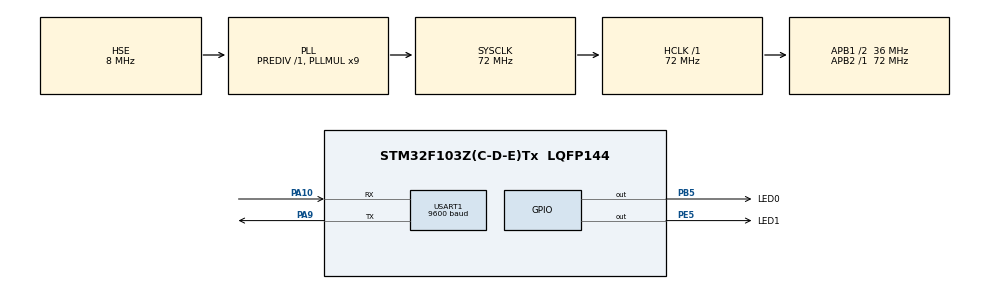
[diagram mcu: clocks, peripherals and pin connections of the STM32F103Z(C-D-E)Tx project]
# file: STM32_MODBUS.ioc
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Mcu.Family=STM32F1
Mcu.Name=STM32F103Z(C-D-E)Tx
Mcu.Package=LQFP144
NVIC.PriorityGroup=NVIC_PRIORITYGROUP_4
NVIC.TIM4_IRQn=true\:0\:0\:false\:false\:false\:false\:true\:true\:true
NVIC.USART1_IRQn=true\:0\:0\:false\:false\:false\:false\:true\:true\:true
OSC_IN.Mode=HSE-External-Oscillator
OSC_IN.Signal=RCC_OSC_IN
OSC_OUT.Mode=HSE-External-Oscillator
OSC_OUT.Signal=RCC_OSC_OUT
PA10.Mode=Asynchronous
PA10.Signal=USART1_RX
PA13.Mode=Serial_Wire
PA13.Signal=SYS_JTMS-SWDIO
PA14.Mode=Serial_Wire
PA14.Signal=SYS_JTCK-SWCLK
PA9.Mode=Asynchronous
PA9.Signal=USART1_TX
PB5.GPIO_Label=LED0
PB5.PinState=GPIO_PIN_SET
PB5.Signal=GPIO_Output
PC14-OSC32_IN.Mode=LSE-External-Oscillator
PC14-OSC32_IN.Signal=RCC_OSC32_IN
PC15-OSC32_OUT.Mode=LSE-External-Oscillator
PC15-OSC32_OUT.Signal=RCC_OSC32_OUT
PE5.GPIO_Label=LED1
PE5.PinState=GPIO_PIN_SET
PE5.Signal=GPIO_Output
ProjectManager.HeapSize=0x200
ProjectManager.StackSize=0x400
ProjectManager.TargetToolchain=SW4STM32
RCC.AHBFreq_Value=72000000
RCC.APB1CLKDivider=RCC_HCLK_DIV2
RCC.APB1Freq_Value=36000000
RCC.APB1TimFreq_Value=72000000
RCC.APB2Freq_Value=72000000
RCC.APB2TimFreq_Value=72000000
RCC.HCLKFreq_Value=72000000
RCC.PLLMUL=RCC_PLL_MUL9
RCC.PLLSourceVirtual=RCC_PLLSOURCE_HSE
RCC.RTCClockSelection=RCC_RTCCLKSOURCE_LSE
RCC.SYSCLKFreq_VALUE=72000000
RCC.SYSCLKSource=RCC_SYSCLKSOURCE_PLLCLK
RCC.USBFreq_Value=72000000
RTC.Date=29
RTC.Format=RTC_FORMAT_BIN
RTC.Hours=8
RTC.Month=RTC_MONTH_JULY
RTC.WeekDay=RTC_WEEKDAY_SATURDAY
RTC.Year=23
RealThread.RT-Thread.3.1.5.RTOSJjkernel=true
RealThread.RT-Thread.3.1.5.RT_ALIGN_SIZE=8
RealThread.RT-Thread.3.1.5.RT_NAME_MAX=16
RealThread.RT-Thread.3.1.5.RT_TICK_PER_SECOND=10000
RealThread.RT-Thread.3.1.5.RT_USING_CONSOLE=0
RealThread.RT-Thread.3.1.5.RT_USING_DEVICE=0
RealThread.RT-Thread.3.1.5.RT_USING_EVENT=1
RealThread.RT-Thread.3.1.5.RT_USING_HOOK=0
RealThread.RT-Thread.3.1.5.RT_USING_MUTEX=1
RealThread.RT-Thread.3.1.5.RT_USING_USER_MAIN=0
TIM4.Period=35
TIM4.Prescaler=3599
USART1.BaudRate=9600
USART1.VirtualMode=VM_ASYNC
VP_RTC_VS_RTC_Activate.Mode=RTC_Enabled
VP_RTC_VS_RTC_Calendar.Mode=RTC_Calendar
VP_RealThread.RT-Thread_VS_RTOSJjkernel_3.1.5_3.1.5.Mode=RTOSJjkernel
VP_TIM4_VS_ClockSourceINT.Mode=Internal
board=custom

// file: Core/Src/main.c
/* USER CODE BEGIN Header */
/**
  ******************************************************************************
  * @file           : main.c
  * @brief          : Main program body
  ******************************************************************************
  * @attention
  *
  * Copyright (c) 2023 STMicroelectronics.
  * All rights reserved.
  *
  * This software is licensed under terms that can be found in the LICENSE file
  * in the root directory of this software component.
  * If no LICENSE file comes with this software, it is provided AS-IS.
  *
  ******************************************************************************
  */
/* USER CODE END Header */
#include "main.h"
#include "rtc.h"
#include "tim.h"
#include "usart.h"
#include "gpio.h"

/* USER CODE BEGIN Includes */
#include <stdio.h>
#include "APP/app_rtthread.h"
/* USER CODE END Includes */

void SystemClock_Config(void);

/* USER CODE BEGIN 0 */
#define PUTCHAR_PROTOTYPE int __io_putchar(int ch)
#define GETCHAR_PROTOTYPE int __io_getchar(void)

#ifdef __cplusplus
extern "C" {
#endif
PUTCHAR_PROTOTYPE {
HAL_UART_Transmit(&huart1, (uint8_t *) &ch, 1, HAL_MAX_DELAY);
return ch;
}
GETCHAR_PROTOTYPE {
uint8_t ch = 0;
HAL_UART_Receive(&huart1, &ch, 1, HAL_MAX_DELAY);
return ch;
}
#ifdef __cplusplus
}
#endif
/* USER CODE END 0 */

int main(void)
{

  /* MCU Configuration--------------------------------------------------------*/

  /* Reset of all peripherals, Initializes the Flash interface and the Systick. */
  HAL_Init();

  /* Configure the system clock */
  SystemClock_Config();

  /* Initialize all configured peripherals */
  MX_GPIO_Init();
  MX_RTC_Init();
  MX_TIM4_Init();
  MX_USART1_UART_Init();
  /* USER CODE BEGIN 2 */

  rtthread_startup();

  /* USER CODE END 2 */

  /* Infinite loop */
  while (1)
  {

  }
}

void SystemClock_Config(void)
{
  RCC_OscInitTypeDef RCC_OscInitStruct = {0};
  RCC_ClkInitTypeDef RCC_ClkInitStruct = {0};
  RCC_PeriphCLKInitTypeDef PeriphClkInit = {0};

  /** Initializes the RCC Oscillators according to the specified parameters
  * in the RCC_OscInitTypeDef structure.
  */
  RCC_OscInitStruct.OscillatorType = RCC_OSCILLATORTYPE_HSE|RCC_OSCILLATORTYPE_LSE;
  RCC_OscInitStruct.HSEState = RCC_HSE_ON;
  RCC_OscInitStruct.HSEPredivValue = RCC_HSE_PREDIV_DIV1;
  RCC_OscInitStruct.LSEState = RCC_LSE_ON;
  RCC_OscInitStruct.HSIState = RCC_HSI_ON;
  RCC_OscInitStruct.PLL.PLLState = RCC_PLL_ON;
  RCC_OscInitStruct.PLL.PLLSource = RCC_PLLSOURCE_HSE;
  RCC_OscInitStruct.PLL.PLLMUL = RCC_PLL_MUL9;
  if (HAL_RCC_OscConfig(&RCC_OscInitStruct) != HAL_OK)
  {
    Error_Handler();
  }

  /** Initializes the CPU, AHB and APB buses clocks
  */
  RCC_ClkInitStruct.ClockType = RCC_CLOCKTYPE_HCLK|RCC_CLOCKTYPE_SYSCLK
                              |RCC_CLOCKTYPE_PCLK1|RCC_CLOCKTYPE_PCLK2;
  RCC_ClkInitStruct.SYSCLKSource = RCC_SYSCLKSOURCE_PLLCLK;
  RCC_ClkInitStruct.AHBCLKDivider = RCC_SYSCLK_DIV1;
  RCC_ClkInitStruct.APB1CLKDivider = RCC_HCLK_DIV2;
  RCC_ClkInitStruct.APB2CLKDivider = RCC_HCLK_DIV1;

  if (HAL_RCC_ClockConfig(&RCC_ClkInitStruct, FLASH_LATENCY_2) != HAL_OK)
  {
    Error_Handler();
  }
  PeriphClkInit.PeriphClockSelection = RCC_PERIPHCLK_RTC;
  PeriphClkInit.RTCClockSelection = RCC_RTCCLKSOURCE_LSE;
  if (HAL_RCCEx_PeriphCLKConfig(&PeriphClkInit) != HAL_OK)
  {
    Error_Handler();
  }
}

void Error_Handler(void)
{
  __disable_irq();
  while (1)
  {
  }
}
